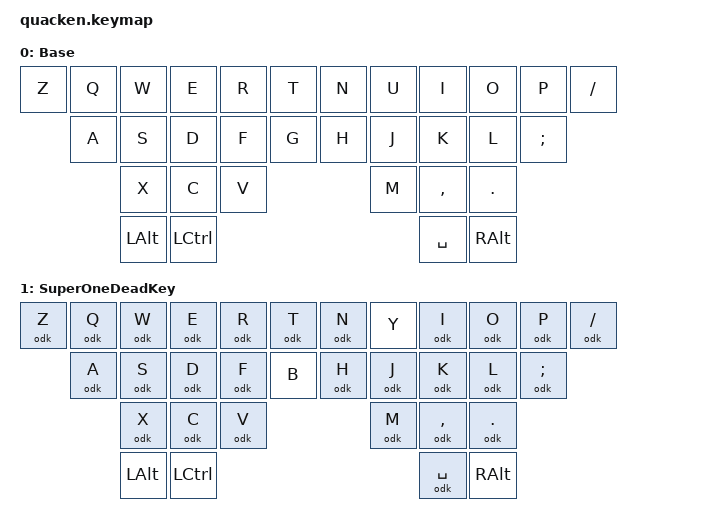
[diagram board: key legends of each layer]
#include <behaviors.dtsi>
#include <dt-bindings/zmk/keys.h>

/ {
    /* odk: one_dead_key { */
    /*     compatible = "zmk, */
    /* }; */

    macros {
        odk: one_dead_key {
            compatible = "zmk,behavior-macro-one-param";
            #binding-cells = <1>;
            bindings = <&macro_tap O>, <&macro_tap &kp MACRO_PLACEHOLDER>;
        };
    };

    keymap {
        compatible = "zmk,keymap";

        default_layer {
            display-name = "Base";
            bindings = <
   &kp Z &kp Q &kp W &kp E &kp R &kp T   &kp N &kp U  &kp I     &kp O   &kp P    &kp FSLH
         &kp A &kp S &kp D &kp F &kp G   &kp H &kp J  &kp K     &kp L   &kp SEMI
               &kp X &kp C &kp V               &kp M  &kp COMMA &kp DOT
               &kp LALT &kp LCTL                  &kp SPACE &kp RALT
            >;
        };

        super_odk {
            display-name = "SuperOneDeadKey";
            bindings = <
   &odk Z  &odk Q &odk W &odk E &odk R &odk T   &odk N &kp Y   &odk I     &odk O   &odk P    &odk FSLH
           &odk A &odk S &odk D &odk F &kp B    &odk H &odk J  &odk K     &odk L   &odk SEMI
                  &odk X &odk C &odk V                 &odk M  &odk COMMA &odk DOT
                  &kp LALT &kp LCTL                    &odk SPACE &kp RALT
            >;
        };

   /*      odk { */
   /*          display-name = "OneDeadKey" */
   /*              bindings = < */
   /* &kp Z   &kp Q &kp W &kp E &kp R &kp T   &kp N &kp U  &kp I     &kp O   &kp P    &kp FSLH */
   /*         &kp A &kp S &kp D &kp F &kp B   &kp H &kp J  &kp K     &kp L   &kp SEMI */
   /*               &kp X &kp C &kp V               &kp M  &kp COMMA &kp DOT */
   /*               &kp LALT &kp LCTL                  &kp SPACE &kp RALT */
   /*              >; */
   /*      }; */
   /**/

   /*      num_nav { */
   /*          display-name = "Num-Nav"; */
   /*          bindings = < */
   /* &kp TAB   &kp Q &kp W &kp E &kp R &kp T   &kp Y &kp U  &kp I     &kp O   &kp P    &kp BSPC */
   /* &kp LCTRL &kp A &kp S &kp D &kp F &kp G   &kp H &kp J  &kp K     &kp L   &kp SEMI &kp SQT */
   /* &kp LSHFT &kp Z &kp X &kp C &kp V &kp B   &kp N &kp M  &kp COMMA &kp DOT &kp FSLH &kp ESC */
   /*                &kp LALT &kp LCTL &kp LGUI   &mo 1 &kp SPACE &kp RALT */
   /*          >; */
   /*      }; */

    };
};
